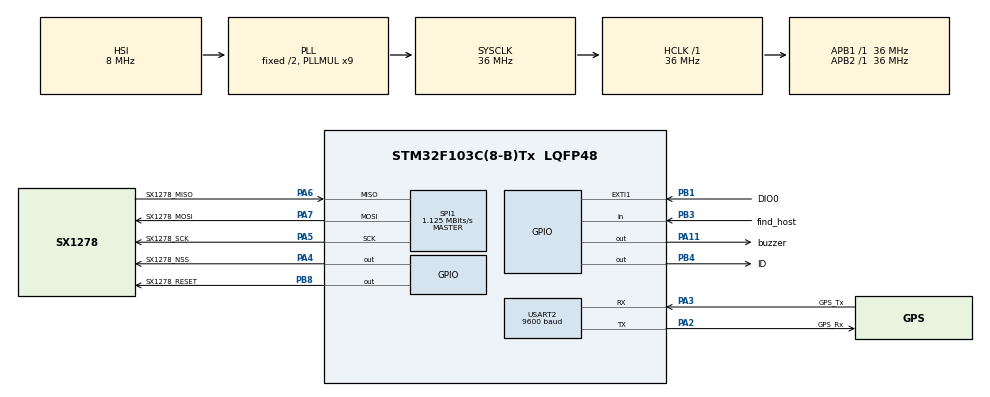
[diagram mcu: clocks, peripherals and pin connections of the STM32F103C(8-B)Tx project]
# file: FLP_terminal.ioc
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Mcu.Family=STM32F1
Mcu.Name=STM32F103C(8-B)Tx
Mcu.Package=LQFP48
NVIC.PriorityGroup=NVIC_PRIORITYGROUP_4
NVIC.USART2_IRQn=true\:0\:0\:false\:false\:true\:true\:true\:true
PA11.GPIO_Label=buzzer
PA11.Signal=GPIO_Output
PA2.GPIO_Label=GPS_Rx
PA2.Mode=Asynchronous
PA2.Signal=USART2_TX
PA3.GPIO_Label=GPS_Tx
PA3.Mode=Asynchronous
PA3.Signal=USART2_RX
PA4.GPIO_Label=SX1278_NSS
PA4.Signal=GPIO_Output
PA5.GPIO_Label=SX1278_SCK
PA5.Mode=Full_Duplex_Master
PA5.Signal=SPI1_SCK
PA6.GPIO_Label=SX1278_MISO
PA6.Mode=Full_Duplex_Master
PA6.Signal=SPI1_MISO
PA7.GPIO_Label=SX1278_MOSI
PA7.Mode=Full_Duplex_Master
PA7.Signal=SPI1_MOSI
PB1.GPIO_Label=DIO0
PB1.Signal=GPXTI1
PB3.GPIO_Label=find_host
PB3.Signal=GPIO_Input
PB4.GPIO_Label=ID
PB4.Signal=GPIO_Output
PB8.GPIO_Label=SX1278_RESET
PB8.Signal=GPIO_Output
ProjectManager.HeapSize=0x200
ProjectManager.StackSize=0x400
ProjectManager.TargetToolchain=STM32CubeIDE
RCC.AHBFreq_Value=36000000
RCC.APB1Freq_Value=36000000
RCC.APB1TimFreq_Value=36000000
RCC.APB2Freq_Value=36000000
RCC.APB2TimFreq_Value=36000000
RCC.HCLKFreq_Value=36000000
RCC.PLLMUL=RCC_PLL_MUL9
RCC.SYSCLKFreq_VALUE=36000000
RCC.SYSCLKSource=RCC_SYSCLKSOURCE_PLLCLK
RCC.USBFreq_Value=36000000
SPI1.BaudRatePrescaler=SPI_BAUDRATEPRESCALER_32
SPI1.CalculateBaudRate=1.125 MBits/s
SPI1.Direction=SPI_DIRECTION_2LINES
SPI1.Mode=SPI_MODE_MASTER
SPI1.VirtualType=VM_MASTER
USART2.BaudRate=9600
USART2.VirtualMode=VM_ASYNC
VP_SYS_VS_ND.Mode=No_Debug
board=custom

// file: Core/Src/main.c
/* USER CODE BEGIN Header */
/**
  ******************************************************************************
  * @file           : main.c
  * @brief          : Main program body
  ******************************************************************************
  * @attention
  *
  * Copyright (c) 2025 STMicroelectronics.
  * All rights reserved.
  *
  * This software is licensed under terms that can be found in the LICENSE file
  * in the root directory of this software component.
  * If no LICENSE file comes with this software, it is provided AS-IS.
  *
  ******************************************************************************
  */
/* USER CODE END Header */
#include "main.h"

/* USER CODE BEGIN Includes */
#include "stdio.h"
#include "stdlib.h"
#include "string.h"
#include "stdint.h"
/* USER CODE END Includes */

/* USER CODE BEGIN PTD */
typedef struct GpsData{
	float latitude;
	float longitude;
}GpsData;
/* USER CODE END PTD */

/* USER CODE BEGIN PD */
#define TERMINAL_ID_INT 2041235739
#define TERMINAL_ID_CHAR "2041235739"
#define LORA_MAX_PACKET_SIZE 255
/* USER CODE END PD */

SPI_HandleTypeDef hspi1;

UART_HandleTypeDef huart2;

/* USER CODE BEGIN PV */
uint8_t gps_rx_buffer[1];
char gps_sentence[128];
uint8_t gps_index = 0;
GpsData SaveGpsData;
int host_id;
static int danger = 0;
/* USER CODE END PV */

void SystemClock_Config(void);
static void MX_GPIO_Init(void);
static void MX_SPI1_Init(void);
static void MX_USART2_UART_Init(void);
/* USER CODE BEGIN PFP */
void lora_write_register(uint8_t reg, uint8_t value) {
    uint8_t tx_buf[2] = { (reg | 0x80), value };

    HAL_GPIO_WritePin(GPIOA, SX1278_NSS_Pin, GPIO_PIN_RESET);
    HAL_SPI_Transmit(&hspi1, tx_buf, 2, HAL_MAX_DELAY);
    HAL_GPIO_WritePin(GPIOA, SX1278_NSS_Pin, GPIO_PIN_SET);
}

uint8_t lora_read_register(uint8_t reg) {
    uint8_t tx_buf[2] = { (reg & 0x7F), 0x00 };
    uint8_t rx_buf[2] = { 0 };

    HAL_GPIO_WritePin(GPIOA, SX1278_NSS_Pin, GPIO_PIN_RESET);
    HAL_SPI_TransmitReceive(&hspi1, tx_buf, rx_buf, 2, HAL_MAX_DELAY);
    HAL_GPIO_WritePin(GPIOA, SX1278_NSS_Pin, GPIO_PIN_SET);

    return rx_buf[1];
}

void lora_init(void) {
    HAL_GPIO_WritePin(GPIOB, SX1278_RESET_Pin, GPIO_PIN_RESET);
    HAL_Delay(10);
    HAL_GPIO_WritePin(GPIOB, SX1278_RESET_Pin, GPIO_PIN_SET);
    HAL_Delay(10);

    lora_write_register(0x01, 0x81);

    uint64_t frf = ((uint64_t)433000000 << 19) / 32000000;
    lora_write_register(0x06, (frf >> 16) & 0xFF);
    lora_write_register(0x07, (frf >> 8) & 0xFF);
    lora_write_register(0x08, (frf >> 0) & 0xFF);

    lora_write_register(0x1D, 0x72);
    lora_write_register(0x1E, 0xC4);
    lora_write_register(0x22, LORA_MAX_PACKET_SIZE);

    lora_write_register(0x12, 0xFF);
}

double convert_to_decimal_degrees(const char* nmea_coord, char direction) {
    double raw = atof(nmea_coord);
    int degrees = (int)(raw / 100);
    double minutes = raw - (degrees * 100);
    double decimal_degrees = degrees + (minutes / 60.0);

    if (direction == 'S' || direction == 'W') {
        decimal_degrees *= -1.0;
    }

    return decimal_degrees;
}

void parse_gps_sentence(char* gps_input) {
    if (!(strstr(gps_input, "$GPGGA") || strstr(gps_input, "$GPRMC"))) {
        return;
    }

    char *token;
    int field_index = 0;
    char lat[16] = {0}, lon[16] = {0};
    char lat_dir = 0, lon_dir = 0;

    token = strtok(gps_input, ",");

    while (token != NULL) {
        field_index++;

        if (field_index == 3) {
            strncpy(lat, token, sizeof(lat) - 1);
        }
        else if (field_index == 4) {
            lat_dir = token[0];
        }
        else if (field_index == 5) {
            strncpy(lon, token, sizeof(lon) - 1);
        }
        else if (field_index == 6) {
            lon_dir = token[0];
        }

        token = strtok(NULL, ",");
    }

    if (strlen(lat) > 0 && strlen(lon) > 0) {
        double conv_lat = convert_to_decimal_degrees(lat, lat_dir);
        double conv_lon = convert_to_decimal_degrees(lon, lon_dir);

        if (conv_lat >= -90 && conv_lat <= 90 && conv_lon >= -180 && conv_lon <= 180) {
            SaveGpsData.latitude = conv_lat;
            SaveGpsData.longitude = conv_lon;
        }
    }
}

void lora_send_packet(const char* data) {
    size_t len = strlen(data);
    if (len > 255) len = 255;

    lora_write_register(0x01, 0x81);
    lora_write_register(0x0E, 0x00);
    lora_write_register(0x0D, 0x00);

    for (size_t i = 0; i < len; i++) {
        lora_write_register(0x00, data[i]);
    }

    lora_write_register(0x22, len);
    lora_write_register(0x01, 0x83);
    while ((lora_read_register(0x12) & 0x08) == 0) {
        HAL_Delay(10);
    }
    lora_write_register(0x12, 0xFF);
}

int lora_receive_packet(char *buf, size_t max_len) {
    if (buf == NULL || max_len == 0) return 0;

    int len = 0;
    uint8_t irq_flags = lora_read_register(0x12);

    if (irq_flags & 0x40) {
        if (irq_flags & 0x20) {
            lora_write_register(0x12, 0xFF);
            return 0;
        }

        len = lora_read_register(0x13);

        if (len > max_len - 1){
        	len = max_len - 1;
        }

        uint8_t fifo_addr = lora_read_register(0x10);
        lora_write_register(0x0D, fifo_addr);

        for (int i = 0; i < len; i++) {
            buf[i] = lora_read_register(0x00);
        }
        buf[len] = '\0';

        int rssi = lora_read_register(0x1A);
        printf("LoRa RX %d bytes (RSSI=%d): %s\r\n", len, rssi, buf);
    }
    lora_write_register(0x12, 0xFF);
    return len;
}

void buzzer_beep_once() {
    HAL_GPIO_WritePin(buzzer_GPIO_Port, buzzer_Pin, GPIO_PIN_SET);
    HAL_Delay(10000);
    HAL_GPIO_WritePin(buzzer_GPIO_Port, buzzer_Pin, GPIO_PIN_RESET);
}

void buzzer_alarm_repeat() {
    for (int i = 0; i < 3; i++) {
        HAL_GPIO_WritePin(buzzer_GPIO_Port, buzzer_Pin, GPIO_PIN_SET);
        HAL_Delay(2000);
        HAL_GPIO_WritePin(buzzer_GPIO_Port, buzzer_Pin, GPIO_PIN_RESET);
        HAL_Delay(2000);
    }
}

void buzzer_off() {
    HAL_GPIO_WritePin(buzzer_GPIO_Port, buzzer_Pin, GPIO_PIN_RESET);
}

void lora_receive_handler(void) {
    char buf[256] = {0};
    int packet_len = lora_receive_packet(buf,255);

    if (packet_len > 0) {
        buf[packet_len] = '\0';
        printf("LoRa Received: %s\n", buf);
        if (strstr(buf, "getgps") != NULL) {
        	char * token;
        	token = strtok(buf,",");
        	if(strstr(token,TERMINAL_ID_CHAR)){
        		token = strtok(buf,NULL);
        		host_id = atoi(token);

        		token = strtok(buf,NULL);
        		danger = atoi(token);

        		switch (danger) {
					case 0:
						buzzer_off();
						break;
					case 1:
						buzzer_beep_once();
						break;
					case 2:
					case 3:
						buzzer_alarm_repeat();
						break;
					default:
						buzzer_off();
						break;
				}

        		char response[64];
				snprintf(response, sizeof(response), "%u,%.4f,%.4f %u", TERMINAL_ID_INT, SaveGpsData.latitude, SaveGpsData.longitude, host_id);

				lora_send_packet(response);
				printf("LoRa Sent: %s\n", response);
        	}
        }
    }
}

/* USER CODE END PFP */

int main(void)
{

  /* MCU Configuration--------------------------------------------------------*/

  /* Reset of all peripherals, Initializes the Flash interface and the Systick. */
  HAL_Init();

  /* Configure the system clock */
  SystemClock_Config();

  /* USER CODE BEGIN SysInit */
  lora_init();
  /* USER CODE END SysInit */

  /* Initialize all configured peripherals */
  MX_GPIO_Init();
  MX_SPI1_Init();
  MX_USART2_UART_Init();
  /* USER CODE BEGIN 2 */
  HAL_UART_Receive_IT(&huart2, gps_rx_buffer, 1);
  /* USER CODE END 2 */

  /* Infinite loop */
  while (1)
  {
	  if(HAL_GPIO_ReadPin(GPIOE, find_host_Pin)){
		  lora_send_packet();

	  }

  }
}

void SystemClock_Config(void)
{
  RCC_OscInitTypeDef RCC_OscInitStruct = {0};
  RCC_ClkInitTypeDef RCC_ClkInitStruct = {0};

  /** Initializes the RCC Oscillators according to the specified parameters
  * in the RCC_OscInitTypeDef structure.
  */
  RCC_OscInitStruct.OscillatorType = RCC_OSCILLATORTYPE_HSI;
  RCC_OscInitStruct.HSIState = RCC_HSI_ON;
  RCC_OscInitStruct.HSICalibrationValue = RCC_HSICALIBRATION_DEFAULT;
  RCC_OscInitStruct.PLL.PLLState = RCC_PLL_ON;
  RCC_OscInitStruct.PLL.PLLSource = RCC_PLLSOURCE_HSI_DIV2;
  RCC_OscInitStruct.PLL.PLLMUL = RCC_PLL_MUL9;
  if (HAL_RCC_OscConfig(&RCC_OscInitStruct) != HAL_OK)
  {
    Error_Handler();
  }

  /** Initializes the CPU, AHB and APB buses clocks
  */
  RCC_ClkInitStruct.ClockType = RCC_CLOCKTYPE_HCLK|RCC_CLOCKTYPE_SYSCLK
                              |RCC_CLOCKTYPE_PCLK1|RCC_CLOCKTYPE_PCLK2;
  RCC_ClkInitStruct.SYSCLKSource = RCC_SYSCLKSOURCE_PLLCLK;
  RCC_ClkInitStruct.AHBCLKDivider = RCC_SYSCLK_DIV1;
  RCC_ClkInitStruct.APB1CLKDivider = RCC_HCLK_DIV1;
  RCC_ClkInitStruct.APB2CLKDivider = RCC_HCLK_DIV1;

  if (HAL_RCC_ClockConfig(&RCC_ClkInitStruct, FLASH_LATENCY_1) != HAL_OK)
  {
    Error_Handler();
  }
}

static void MX_SPI1_Init(void)
{

  /* SPI1 parameter configuration*/
  hspi1.Instance = SPI1;
  hspi1.Init.Mode = SPI_MODE_MASTER;
  hspi1.Init.Direction = SPI_DIRECTION_2LINES;
  hspi1.Init.DataSize = SPI_DATASIZE_8BIT;
  hspi1.Init.CLKPolarity = SPI_POLARITY_LOW;
  hspi1.Init.CLKPhase = SPI_PHASE_1EDGE;
  hspi1.Init.NSS = SPI_NSS_SOFT;
  hspi1.Init.BaudRatePrescaler = SPI_BAUDRATEPRESCALER_32;
  hspi1.Init.FirstBit = SPI_FIRSTBIT_MSB;
  hspi1.Init.TIMode = SPI_TIMODE_DISABLE;
  hspi1.Init.CRCCalculation = SPI_CRCCALCULATION_DISABLE;
  hspi1.Init.CRCPolynomial = 10;
  if (HAL_SPI_Init(&hspi1) != HAL_OK)
  {
    Error_Handler();
  }

}

static void MX_USART2_UART_Init(void)
{

  huart2.Instance = USART2;
  huart2.Init.BaudRate = 9600;
  huart2.Init.WordLength = UART_WORDLENGTH_8B;
  huart2.Init.StopBits = UART_STOPBITS_1;
  huart2.Init.Parity = UART_PARITY_NONE;
  huart2.Init.Mode = UART_MODE_TX_RX;
  huart2.Init.HwFlowCtl = UART_HWCONTROL_NONE;
  huart2.Init.OverSampling = UART_OVERSAMPLING_16;
  if (HAL_UART_Init(&huart2) != HAL_OK)
  {
    Error_Handler();
  }

}

static void MX_GPIO_Init(void)
{
  GPIO_InitTypeDef GPIO_InitStruct = {0};

  /* GPIO Ports Clock Enable */
  __HAL_RCC_GPIOA_CLK_ENABLE();
  __HAL_RCC_GPIOB_CLK_ENABLE();

  /*Configure GPIO pin Output Level */
  HAL_GPIO_WritePin(GPIOA, SX1278_NSS_Pin|buzzer_Pin, GPIO_PIN_RESET);

  /*Configure GPIO pin Output Level */
  HAL_GPIO_WritePin(GPIOB, ID_Pin|SX1278_RESET_Pin, GPIO_PIN_RESET);

  /*Configure GPIO pins : SX1278_NSS_Pin buzzer_Pin */
  GPIO_InitStruct.Pin = SX1278_NSS_Pin|buzzer_Pin;
  GPIO_InitStruct.Mode = GPIO_MODE_OUTPUT_PP;
  GPIO_InitStruct.Pull = GPIO_NOPULL;
  GPIO_InitStruct.Speed = GPIO_SPEED_FREQ_LOW;
  HAL_GPIO_Init(GPIOA, &GPIO_InitStruct);

  /*Configure GPIO pin : DIO0_Pin */
  GPIO_InitStruct.Pin = DIO0_Pin;
  GPIO_InitStruct.Mode = GPIO_MODE_IT_RISING;
  GPIO_InitStruct.Pull = GPIO_NOPULL;
  HAL_GPIO_Init(DIO0_GPIO_Port, &GPIO_InitStruct);

  /*Configure GPIO pin : find_host_Pin */
  GPIO_InitStruct.Pin = find_host_Pin;
  GPIO_InitStruct.Mode = GPIO_MODE_INPUT;
  GPIO_InitStruct.Pull = GPIO_NOPULL;
  HAL_GPIO_Init(find_host_GPIO_Port, &GPIO_InitStruct);

  /*Configure GPIO pins : ID_Pin SX1278_RESET_Pin */
  GPIO_InitStruct.Pin = ID_Pin|SX1278_RESET_Pin;
  GPIO_InitStruct.Mode = GPIO_MODE_OUTPUT_PP;
  GPIO_InitStruct.Pull = GPIO_NOPULL;
  GPIO_InitStruct.Speed = GPIO_SPEED_FREQ_LOW;
  HAL_GPIO_Init(GPIOB, &GPIO_InitStruct);

}

/* USER CODE BEGIN 4 */
void HAL_UART_RxCpltCallback(UART_HandleTypeDef *huart)
{
    if (huart->Instance == USART2) {
        if (gps_rx_buffer[0] == '\n') {
            gps_sentence[gps_index] = '\0';
            gps_index = 0;
            parse_gps_sentence(gps_sentence);
        } else {
            gps_sentence[gps_index++] = gps_rx_buffer[0];
            if (gps_index >= 127) gps_index = 0;
        }
        HAL_UART_Receive_IT(&huart2, gps_rx_buffer, 1);
    }
}

void HAL_GPIO_EXTI_Callback(uint16_t GPIO_Pin)
{
    if (GPIO_Pin == DIO0_Pin) {
    	lora_receive_handler();
    }
}
/* USER CODE END 4 */

void Error_Handler(void)
{
  /* USER CODE BEGIN Error_Handler_Debug */
  /* User can add his own implementation to report the HAL error return state */
  __disable_irq();
  while (1)
  {
	  printf("fucking error");
  }
  /* USER CODE END Error_Handler_Debug */
}
